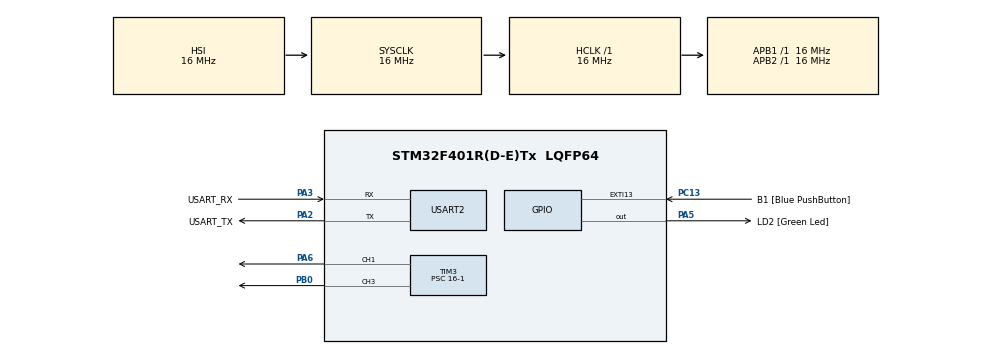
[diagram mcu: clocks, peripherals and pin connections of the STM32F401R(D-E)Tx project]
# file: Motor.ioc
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Mcu.Family=STM32F4
Mcu.Name=STM32F401R(D-E)Tx
Mcu.Package=LQFP64
NVIC.PriorityGroup=NVIC_PRIORITYGROUP_0
PA13.GPIO_Label=TMS
PA13.Mode=Serial_Wire
PA13.Signal=SYS_JTMS-SWDIO
PA14.GPIO_Label=TCK
PA14.Mode=Serial_Wire
PA14.Signal=SYS_JTCK-SWCLK
PA2.GPIO_Label=USART_TX
PA2.GPIO_Mode=GPIO_MODE_AF_PP
PA2.GPIO_PuPd=GPIO_NOPULL
PA2.GPIO_Speed=GPIO_SPEED_FREQ_LOW
PA2.Mode=Asynchronous
PA2.Signal=USART2_TX
PA3.GPIO_Label=USART_RX
PA3.GPIO_Mode=GPIO_MODE_AF_PP
PA3.GPIO_PuPd=GPIO_NOPULL
PA3.GPIO_Speed=GPIO_SPEED_FREQ_LOW
PA3.Mode=Asynchronous
PA3.Signal=USART2_RX
PA5.GPIO_Label=LD2 [Green Led]
PA5.GPIO_Mode=GPIO_MODE_OUTPUT_PP
PA5.GPIO_PuPd=GPIO_NOPULL
PA5.GPIO_Speed=GPIO_SPEED_FREQ_LOW
PA5.Signal=GPIO_Output
PA6.Signal=S_TIM3_CH1
PB0.Signal=S_TIM3_CH3
PB3.GPIO_Label=SWO
PB3.Signal=SYS_JTDO-SWO
PC13-ANTI_TAMP.GPIO_Label=B1 [Blue PushButton]
PC13-ANTI_TAMP.GPIO_ModeDefaultEXTI=GPIO_MODE_IT_FALLING
PC13-ANTI_TAMP.GPIO_PuPd=GPIO_NOPULL
PC13-ANTI_TAMP.Signal=GPXTI13
PC14-OSC32_IN.Mode=LSE-External-Oscillator
PC14-OSC32_IN.Signal=RCC_OSC32_IN
PC15-OSC32_OUT.Mode=LSE-External-Oscillator
PC15-OSC32_OUT.Signal=RCC_OSC32_OUT
PH0\ -\ OSC_IN.Mode=HSE-External-Clock-Source
PH0\ -\ OSC_IN.Signal=RCC_OSC_IN
PH1\ -\ OSC_OUT.Mode=HSE-External-Clock-Source
PH1\ -\ OSC_OUT.Signal=RCC_OSC_OUT
ProjectManager.HeapSize=0x200
ProjectManager.StackSize=0x400
ProjectManager.TargetToolchain=STM32CubeIDE
RCC.48MHZClocksFreq_Value=48000000
RCC.AHBFreq_Value=16000000
RCC.APB1Freq_Value=16000000
RCC.APB1TimFreq_Value=16000000
RCC.APB2Freq_Value=16000000
RCC.APB2TimFreq_Value=16000000
RCC.CortexFreq_Value=16000000
RCC.HCLKFreq_Value=16000000
RCC.HSE_VALUE=8000000
RCC.HSI_VALUE=16000000
RCC.PLLN=336
RCC.PLLP=RCC_PLLP_DIV4
RCC.PLLQ=7
RCC.SYSCLKFreq_VALUE=16000000
RCC.VCOOutputFreq_Value=336000000
SH.S_TIM3_CH1.0=TIM3_CH1,PWM Generation1 CH1
SH.S_TIM3_CH3.0=TIM3_CH3,PWM Generation3 CH3
TIM3.AutoReloadPreload=TIM_AUTORELOAD_PRELOAD_ENABLE
TIM3.Channel-PWM\ Generation1\ CH1=TIM_CHANNEL_1
TIM3.Channel-PWM\ Generation3\ CH3=TIM_CHANNEL_3
TIM3.Period=2000-1
TIM3.Prescaler=16-1
TIM3.Pulse-PWM\ Generation1\ CH1=1200-1
TIM3.Pulse-PWM\ Generation3\ CH3=0
USART2.VirtualMode=VM_ASYNC
VP_TIM3_VS_ClockSourceINT.Mode=Internal
board=NUCLEO-F401RE

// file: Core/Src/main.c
/* USER CODE BEGIN Header */
/**
  ******************************************************************************
  * @file           : main.c
  * @brief          : Main program body
  ******************************************************************************
  * @attention
  *
  * Copyright (c) 2024 STMicroelectronics.
  * All rights reserved.
  *
  * This software is licensed under terms that can be found in the LICENSE file
  * in the root directory of this software component.
  * If no LICENSE file comes with this software, it is provided AS-IS.
  *
  ******************************************************************************
  */
/* USER CODE END Header */
#include "main.h"

TIM_HandleTypeDef htim3;

UART_HandleTypeDef huart2;

void SystemClock_Config(void);
static void MX_GPIO_Init(void);
static void MX_USART2_UART_Init(void);
static void MX_TIM3_Init(void);

int main(void)
{

  /* MCU Configuration--------------------------------------------------------*/

  /* Reset of all peripherals, Initializes the Flash interface and the Systick. */
  HAL_Init();

  /* Configure the system clock */
  SystemClock_Config();

  /* Initialize all configured peripherals */
  MX_GPIO_Init();
  MX_USART2_UART_Init();
  MX_TIM3_Init();
  /* USER CODE BEGIN 2 */
  HAL_TIM_Base_Init(&htim3);
  HAL_TIM_PWM_Start(&htim3, TIM_CHANNEL_1);
  HAL_TIM_PWM_Start(&htim3, TIM_CHANNEL_3);
  TIM3->PSC = 15;
  TIM3->ARR = 60000;
  TIM3->CCR1 = 0;
  TIM3->CCR3 = 0;
  int TIM3_Ch1_DCVAL = 0;
  int TIM3_Ch3_DCVAL = 0;
  /* USER CODE END 2 */

  /* Infinite loop */
  /* USER CODE BEGIN WHILE */
  while (1)
  {
	while(TIM3_Ch1_DCVAL < 60000){
		TIM3_Ch1_DCVAL += (50);
		TIM3->CCR1 = TIM3_Ch1_DCVAL;
		HAL_Delay(1);
	}
	while(TIM3_Ch1_DCVAL > 0){
		TIM3_Ch1_DCVAL -= (50);
		TIM3->CCR1 = TIM3_Ch1_DCVAL;
		HAL_Delay(1);
	}
	while(TIM3_Ch3_DCVAL < 60000){
		TIM3_Ch3_DCVAL += (50);
		TIM3->CCR3 = TIM3_Ch3_DCVAL;
		HAL_Delay(1);
	}
	while(TIM3_Ch3_DCVAL > 0){
			TIM3_Ch3_DCVAL-= (50);
			TIM3->CCR3 = TIM3_Ch3_DCVAL;
			HAL_Delay(1);
	}
    /* USER CODE END WHILE */

  }
}

void SystemClock_Config(void)
{
  RCC_OscInitTypeDef RCC_OscInitStruct = {0};
  RCC_ClkInitTypeDef RCC_ClkInitStruct = {0};

  /** Configure the main internal regulator output voltage
  */
  __HAL_RCC_PWR_CLK_ENABLE();
  __HAL_PWR_VOLTAGESCALING_CONFIG(PWR_REGULATOR_VOLTAGE_SCALE2);

  /** Initializes the RCC Oscillators according to the specified parameters
  * in the RCC_OscInitTypeDef structure.
  */
  RCC_OscInitStruct.OscillatorType = RCC_OSCILLATORTYPE_HSI;
  RCC_OscInitStruct.HSIState = RCC_HSI_ON;
  RCC_OscInitStruct.HSICalibrationValue = RCC_HSICALIBRATION_DEFAULT;
  RCC_OscInitStruct.PLL.PLLState = RCC_PLL_NONE;
  if (HAL_RCC_OscConfig(&RCC_OscInitStruct) != HAL_OK)
  {
    Error_Handler();
  }

  /** Initializes the CPU, AHB and APB buses clocks
  */
  RCC_ClkInitStruct.ClockType = RCC_CLOCKTYPE_HCLK|RCC_CLOCKTYPE_SYSCLK
                              |RCC_CLOCKTYPE_PCLK1|RCC_CLOCKTYPE_PCLK2;
  RCC_ClkInitStruct.SYSCLKSource = RCC_SYSCLKSOURCE_HSI;
  RCC_ClkInitStruct.AHBCLKDivider = RCC_SYSCLK_DIV1;
  RCC_ClkInitStruct.APB1CLKDivider = RCC_HCLK_DIV1;
  RCC_ClkInitStruct.APB2CLKDivider = RCC_HCLK_DIV1;

  if (HAL_RCC_ClockConfig(&RCC_ClkInitStruct, FLASH_LATENCY_0) != HAL_OK)
  {
    Error_Handler();
  }
}

static void MX_TIM3_Init(void)
{

  TIM_ClockConfigTypeDef sClockSourceConfig = {0};
  TIM_MasterConfigTypeDef sMasterConfig = {0};
  TIM_OC_InitTypeDef sConfigOC = {0};

  htim3.Instance = TIM3;
  htim3.Init.Prescaler = 16000-1;
  htim3.Init.CounterMode = TIM_COUNTERMODE_UP;
  htim3.Init.Period = 500-1;
  htim3.Init.ClockDivision = TIM_CLOCKDIVISION_DIV1;
  htim3.Init.AutoReloadPreload = TIM_AUTORELOAD_PRELOAD_ENABLE;
  if (HAL_TIM_Base_Init(&htim3) != HAL_OK)
  {
    Error_Handler();
  }
  sClockSourceConfig.ClockSource = TIM_CLOCKSOURCE_INTERNAL;
  if (HAL_TIM_ConfigClockSource(&htim3, &sClockSourceConfig) != HAL_OK)
  {
    Error_Handler();
  }
  if (HAL_TIM_PWM_Init(&htim3) != HAL_OK)
  {
    Error_Handler();
  }
  sMasterConfig.MasterOutputTrigger = TIM_TRGO_RESET;
  sMasterConfig.MasterSlaveMode = TIM_MASTERSLAVEMODE_DISABLE;
  if (HAL_TIMEx_MasterConfigSynchronization(&htim3, &sMasterConfig) != HAL_OK)
  {
    Error_Handler();
  }
  sConfigOC.OCMode = TIM_OCMODE_PWM1;
  sConfigOC.Pulse = 250-1;
  sConfigOC.OCPolarity = TIM_OCPOLARITY_HIGH;
  sConfigOC.OCFastMode = TIM_OCFAST_DISABLE;
  if (HAL_TIM_PWM_ConfigChannel(&htim3, &sConfigOC, TIM_CHANNEL_3) != HAL_OK)
  {
    Error_Handler();
  }
  HAL_TIM_MspPostInit(&htim3);

}

static void MX_USART2_UART_Init(void)
{

  huart2.Instance = USART2;
  huart2.Init.BaudRate = 115200;
  huart2.Init.WordLength = UART_WORDLENGTH_8B;
  huart2.Init.StopBits = UART_STOPBITS_1;
  huart2.Init.Parity = UART_PARITY_NONE;
  huart2.Init.Mode = UART_MODE_TX_RX;
  huart2.Init.HwFlowCtl = UART_HWCONTROL_NONE;
  huart2.Init.OverSampling = UART_OVERSAMPLING_16;
  if (HAL_UART_Init(&huart2) != HAL_OK)
  {
    Error_Handler();
  }

}

static void MX_GPIO_Init(void)
{
  GPIO_InitTypeDef GPIO_InitStruct = {0};

  /* GPIO Ports Clock Enable */
  __HAL_RCC_GPIOC_CLK_ENABLE();
  __HAL_RCC_GPIOH_CLK_ENABLE();
  __HAL_RCC_GPIOA_CLK_ENABLE();
  __HAL_RCC_GPIOB_CLK_ENABLE();

  /*Configure GPIO pin Output Level */
  HAL_GPIO_WritePin(LD2_GPIO_Port, LD2_Pin, GPIO_PIN_RESET);

  /*Configure GPIO pin : B1_Pin */
  GPIO_InitStruct.Pin = B1_Pin;
  GPIO_InitStruct.Mode = GPIO_MODE_IT_FALLING;
  GPIO_InitStruct.Pull = GPIO_NOPULL;
  HAL_GPIO_Init(B1_GPIO_Port, &GPIO_InitStruct);

  /*Configure GPIO pin : LD2_Pin */
  GPIO_InitStruct.Pin = LD2_Pin;
  GPIO_InitStruct.Mode = GPIO_MODE_OUTPUT_PP;
  GPIO_InitStruct.Pull = GPIO_NOPULL;
  GPIO_InitStruct.Speed = GPIO_SPEED_FREQ_LOW;
  HAL_GPIO_Init(LD2_GPIO_Port, &GPIO_InitStruct);

}

void Error_Handler(void)
{
  __disable_irq();
  while (1)
  {
  }
}
